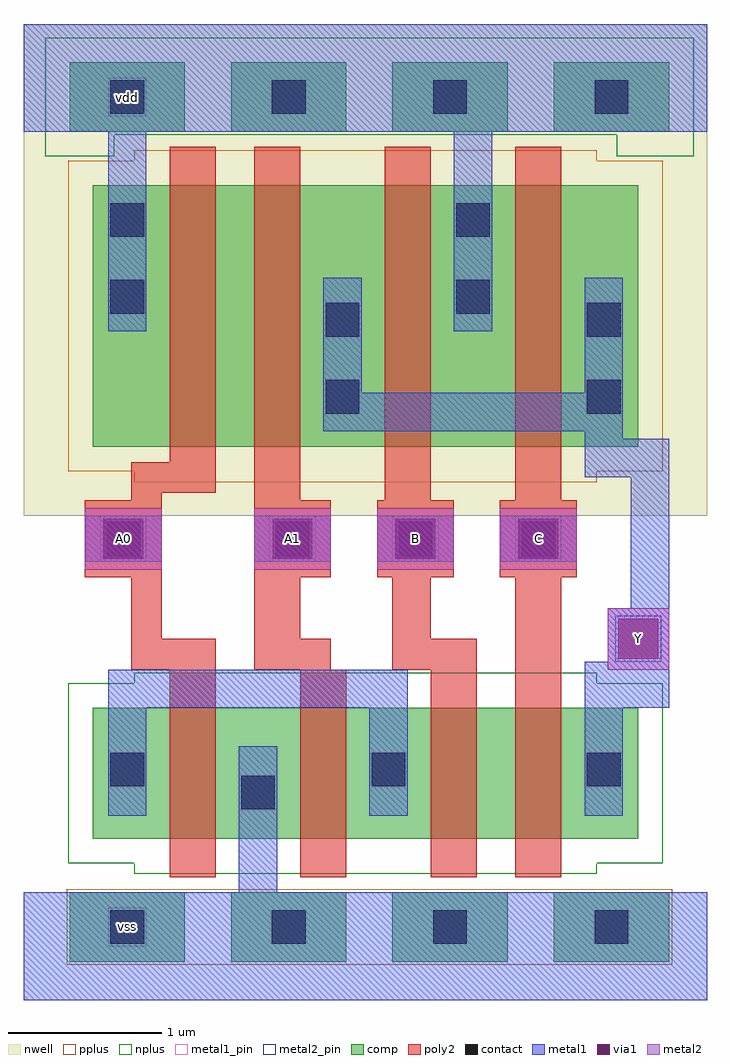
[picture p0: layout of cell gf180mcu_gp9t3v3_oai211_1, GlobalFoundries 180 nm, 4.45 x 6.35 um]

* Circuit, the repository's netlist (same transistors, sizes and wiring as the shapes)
* NGSPICE file created from gf180mcu_gp9t3v3_oai211_1.ext - technology: gf180mcuD

.subckt gf180mcu_gp9t3v3_oai211_1 A0 A1 B C Y vdd vss
X0 Y C vdd vdd pfet_03v3 ad=0.85p pd=4.4u as=0.4675p ps=2.25u w=1.7u l=0.3u
X1 a_n350_150# A0 vdd vdd pfet_03v3 ad=0.2125p pd=1.95u as=0.85p ps=4.4u w=1.7u l=0.3u
X2 a_n510_n360# A1 vss vss nfet_03v3 ad=0.23375p pd=1.4u as=0.23375p ps=1.4u w=0.85u l=0.3u
X3 Y C a_n10_n360# vss nfet_03v3 ad=0.425p pd=2.7u as=0.10625p ps=1.1u w=0.85u l=0.3u
X4 Y A1 a_n350_150# vdd pfet_03v3 ad=0.4675p pd=2.25u as=0.2125p ps=1.95u w=1.7u l=0.3u
X5 vdd B Y vdd pfet_03v3 ad=0.4675p pd=2.25u as=0.4675p ps=2.25u w=1.7u l=0.3u
X6 vss A0 a_n510_n360# vss nfet_03v3 ad=0.23375p pd=1.4u as=0.425p ps=2.7u w=0.85u l=0.3u
X7 a_n10_n360# B a_n510_n360# vss nfet_03v3 ad=0.10625p pd=1.1u as=0.23375p ps=1.4u w=0.85u l=0.3u
.ends

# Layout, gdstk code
import gdstk
lib = gdstk.Library(unit=1e-6, precision=1e-09)
def R(c, l, rs):  # rectangles x0, y0, x1, y1
    for r in rs: c.add(gdstk.rectangle(r[:2], r[2:], *l))
def A(c, l, x, y, w, h, nx, ny, dx, dy):  # array of equal rectangles
    R(c, l, [(x+i*dx, y+j*dy, x+i*dx+w, y+j*dy+h) for i in range(nx) for j in range(ny)])
nwell = (21, 0)
comp = (22, 0)
poly2 = (30, 0)
pplus = (31, 0)
nplus = (32, 0)
contact = (33, 0)
metal1 = (34, 0)
metal1_pin = (34, 10)
via1 = (35, 0)
metal2 = (36, 0)
metal2_pin = (36, 10)

gf180mcu_gp9t3v3_oai211_ = lib.new_cell('gf180mcu_gp9t3v3_oai211_1')
R(gf180mcu_gp9t3v3_oai211_, nwell, [(-3,0.3,1.45,3.5)])
A(gf180mcu_gp9t3v3_oai211_, comp, -2.7, -2.6, 0.75, 0.45, 4, 2, 1.05, 5.4)
R(gf180mcu_gp9t3v3_oai211_, comp, [(-2.55,-1.8,1,-0.95), (-2.55,0.75,1,2.45)])
A(gf180mcu_gp9t3v3_oai211_, poly2, -2.05, -2.05, 0.3, 1.35, 3, 1, 0.85, 0)
A(gf180mcu_gp9t3v3_oai211_, poly2, -1.5, -0.1, 0.5, 0.5, 3, 1, 0.8, 0)
A(gf180mcu_gp9t3v3_oai211_, poly2, -1.5, 0.4, 0.3, 2.3, 3, 1, 0.85, 0)
R(gf180mcu_gp9t3v3_oai211_, poly2, [(0.2,-2.05,0.5,-0.1), (-2.3,-0.7,-1.75,-0.5), (-1.5,-0.7,-1,-0.5), (-0.6,-0.7,-0.05,-0.5), (-2.3,-0.5,-2.1,-0.1), (-1.5,-0.5,-1.2,-0.1), (-0.6,-0.5,-0.35,-0.1), (-2.6,-0.1,-2.1,0.4), (-2.3,0.4,-2.1,0.45), (-2.3,0.45,-1.75,0.65), (-2.05,0.65,-1.75,2.7)])
R(gf180mcu_gp9t3v3_oai211_, pplus, [(-2.72,-2.62,1.22,-2.13), (-2.28,0.52,0.73,0.59), (-2.71,0.59,1.16,2.61), (-2.28,2.61,0.73,2.68)])
R(gf180mcu_gp9t3v3_oai211_, nplus, [(-2.28,-2.03,0.73,-1.96), (-2.71,-1.96,1.16,-0.79), (-2.28,-0.79,0.73,-0.72), (-2.86,2.64,-2.41,2.78), (0.86,2.64,1.36,2.78), (-2.86,2.78,1.36,3.41)])
A(gf180mcu_gp9t3v3_oai211_, contact, -2.435, -2.485, 0.22, 0.22, 4, 2, 1.05, 5.4)
A(gf180mcu_gp9t3v3_oai211_, contact, -1.36, 0.04, 0.22, 0.22, 3, 1, 0.8, 0)
R(gf180mcu_gp9t3v3_oai211_, contact, [(-1.585,-1.61,-1.365,-1.39), (-2.435,-1.46,-2.215,-1.24), (-0.735,-1.46,-0.515,-1.24), (0.665,-1.46,0.885,-1.24), (-2.46,0.04,-2.24,0.26), (-1.035,0.965,-0.815,1.185), (0.665,0.965,0.885,1.185), (-1.035,1.465,-0.815,1.685), (0.665,1.465,0.885,1.685), (-2.435,1.615,-2.215,1.835), (-0.185,1.615,0.035,1.835), (-2.435,2.115,-2.215,2.335), (-0.185,2.115,0.035,2.335)])
A(gf180mcu_gp9t3v3_oai211_, metal1, -1.5, 0, 0.5, 0.3, 3, 1, 0.8, 0)
R(gf180mcu_gp9t3v3_oai211_, metal1, [(-3,-2.85,1.45,-2.15), (-1.6,-2.15,-1.35,-1.2), (-2.45,-1.65,-2.2,-0.95), (-0.75,-1.65,-0.5,-0.95), (0.65,-1.65,0.9,-0.95), (-2.45,-0.95,-0.5,-0.7), (0.65,-0.95,1.2,-0.65), (0.8,-0.65,1.2,-0.3), (0.95,-0.3,1.2,0.55), (-2.6,0,-2.1,0.3), (0.65,0.55,1.2,0.8), (0.65,0.8,0.9,0.85), (-1.05,0.85,0.9,1.1), (-1.05,1.1,-0.8,1.85), (0.65,1.1,0.9,1.85), (-2.45,1.5,-2.2,2.8), (-0.2,1.5,0.05,2.8), (-3,2.8,1.45,3.5)])
R(gf180mcu_gp9t3v3_oai211_, metal1_pin, [(-2.45,-2.5,-2.2,-2.25), (-2.45,2.9,-2.2,3.15)])
A(gf180mcu_gp9t3v3_oai211_, via1, -1.38, 0.02, 0.26, 0.26, 3, 1, 0.8, 0)
R(gf180mcu_gp9t3v3_oai211_, via1, [(0.87,-0.63,1.13,-0.37), (-2.48,0.02,-2.22,0.28)])
A(gf180mcu_gp9t3v3_oai211_, metal2, -1.5, -0.05, 0.5, 0.4, 3, 1, 0.8, 0)
R(gf180mcu_gp9t3v3_oai211_, metal2, [(0.8,-0.7,1.2,-0.3), (-2.6,-0.05,-2.1,0.35)])
A(gf180mcu_gp9t3v3_oai211_, metal2_pin, -1.4, 0, 0.3, 0.3, 3, 1, 0.8, 0)
R(gf180mcu_gp9t3v3_oai211_, metal2_pin, [(0.85,-0.65,1.15,-0.35), (-2.5,0,-2.2,0.3)])
gf180mcu_gp9t3v3_oai211_.add(gdstk.Label('A0', (-2.35,0.15), layer=36, texttype=10))
gf180mcu_gp9t3v3_oai211_.add(gdstk.Label('A1', (-1.25,0.15), layer=36, texttype=10))
gf180mcu_gp9t3v3_oai211_.add(gdstk.Label('B', (-0.45,0.15), layer=36, texttype=10))
gf180mcu_gp9t3v3_oai211_.add(gdstk.Label('C', (0.35,0.15), layer=36, texttype=10))
gf180mcu_gp9t3v3_oai211_.add(gdstk.Label('Y', (1,-0.5), layer=36, texttype=10))
gf180mcu_gp9t3v3_oai211_.add(gdstk.Label('vdd', (-2.325,3.025), layer=22, texttype=0))
gf180mcu_gp9t3v3_oai211_.add(gdstk.Label('vss', (-2.325,-2.375), layer=22, texttype=0))

lib.write_gds('gf180mcu_gp9t3v3_oai211_1.gds')
